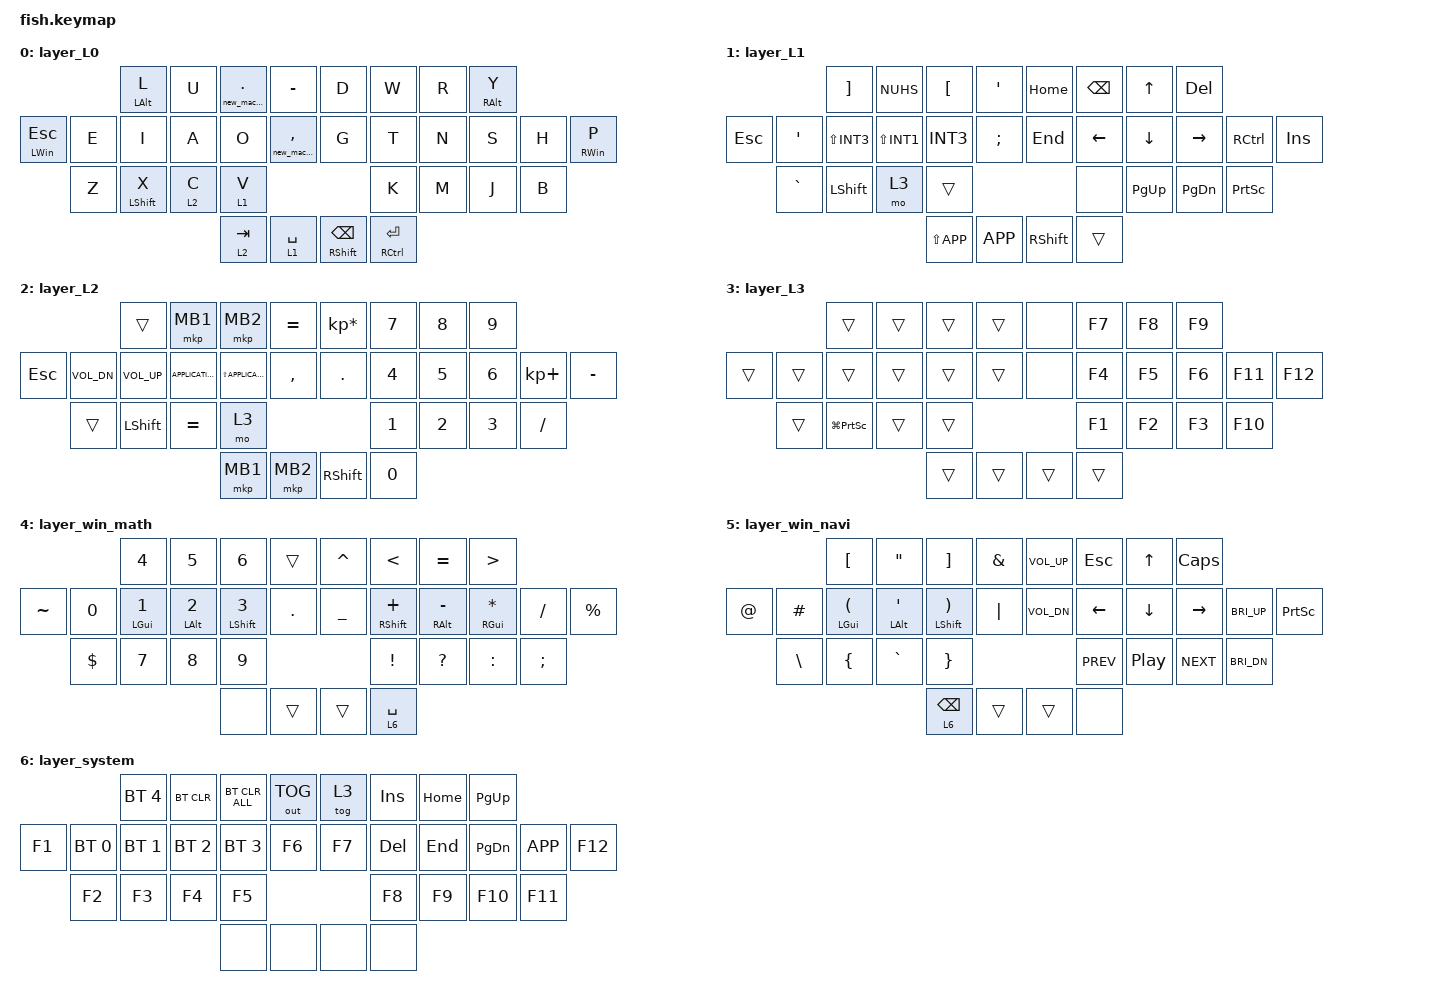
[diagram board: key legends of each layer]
// キーマップを更新する方法は https://o24.works/fish/guide を参照
// 視覚的に編集するには https://o24.works/fish/editor を参照
// 定義を呼んでくる

#include <dt-bindings/zmk/mouse.h>
#include <behaviors.dtsi>
#include <dt-bindings/zmk/bt.h>
#include <dt-bindings/zmk/keys.h>
#include <dt-bindings/zmk/outputs.h>
#include <dt-bindings/zmk/pointing.h>

// 特殊入力の挙動を調整できる

&lt {
    flavor = "balanced";
    quick-tap-ms = <200>;
};

&sk {
};

&sl {
};

&caps_word {
};

&key_repeat {
};

/ {
    // 独自の入力を定義できる（上級者向け）

    conditional_layers {
    };

    // 複数キーの同時押しに特別の入力を設定できる
    // キー番号早見表：
    //       0  1  2  3     4  5  6  7
    // 8  9 10 11 12 13    14 15 16 17 18 19
    //   20 21 22 23          24 25 26 27
    //            28 29    30 31

    combos {
        compatible = "zmk,combos";
        timeout-ms = <150>;
        require-prior-idle-ms = <150>;

        combo_f {
            key-positions = <4 14>;
            bindings = <&kp F>;
        };

        combo_fslh {
            key-positions = <3 13>;
            bindings = <&new_behavior_que 0 SLASH>;
        };

        combo_ze {
            key-positions = <9 20>;
            bindings = <&new_macro_ze>;
        };

        combo_kakko {
            key-positions = <0 1 2>;
            bindings = <&new_macro_kakko>;
        };

        combo_nn {
            key-positions = <16 17>;
            bindings = <&new_macro_nn>;
            layers = <0>;
        };

        combo_mo_3 {
            key-positions = <28 29>;
            bindings = <&mo 3>;
        };

        henkan {
            bindings = <&mt RIGHT_SHIFT INT_HENKAN>;
            key-positions = <16 15>;
        };

        muhennkann {
            bindings = <&mt LEFT_SHIFT INT_MUHENKAN>;
            key-positions = <12 11>;
        };

        ctrl {
            bindings = <&kp LEFT_CONTROL>;
            key-positions = <1 11>;
        };

        ctrl2 {
            bindings = <&kp RIGHT_CONTROL>;
            key-positions = <16 6>;
        };

        kyu- {
            bindings = <&kp Q>;
            key-positions = <27 18>;
        };

        shift {
            bindings = <&kp LEFT_SHIFT>;
            key-positions = <2 12>;
        };

        shift2 {
            bindings = <&kp RSHFT>;
            key-positions = <5 15>;
        };
    };

    // キーに入力を割り当てる
    // 型（&...）は https://zmk.dev/docs/behaviors/... を参照
    // キーコードは https://zmk.dev/docs/codes/... を参照

    macros {
        new_macro_period: new_macro {
            compatible = "zmk,behavior-macro";
            #binding-cells = <0>;
            bindings = <&kp PERIOD &kp SPACE>;
            label = "NEW_MACRO";
        };

        new_macro_comma: new_macro2 {
            compatible = "zmk,behavior-macro";
            #binding-cells = <0>;
            bindings = <&kp COMMA &kp SPACE>;
            label = "NEW_MACRO2";
        };

        new_macro_que: new_macro3 {
            compatible = "zmk,behavior-macro";
            #binding-cells = <0>;
            bindings = <&kp RS(SLASH) &kp SPACE>;
            label = "NEW_MACRO3";
        };

        new_macro_ze: new_macro_ze {
            compatible = "zmk,behavior-macro";
            #binding-cells = <0>;
            bindings = <&kp Z &kp E>;
            label = "NEW_MACRO_ZE";
        };

        new_macro_kakko: new_macro_kakko {
            compatible = "zmk,behavior-macro";
            #binding-cells = <0>;
            bindings = <&kp RBKT &kp NUHS &kp ENTER &kp LEFT>;
            label = "NEW_MACRO_KAKKO";
        };

        new_macro_nn: new_macro_nn {
            compatible = "zmk,behavior-macro";
            #binding-cells = <0>;
            bindings = <&kp N &kp N>;
            label = "NEW_MACRO_NN";
        };
    };

    behaviors {
        new_behavior_balance_mod: new_behavior_balance_mod {
            compatible = "zmk,behavior-hold-tap";
            label = "NEW_BEHAVIOR_BALANCE_MOD";
            bindings = <&kp>, <&kp>;

            #binding-cells = <2>;
            tapping-term-ms = <200>;
            flavor = "balanced";
            quick-tap-ms = <175>;
        };

        new_behavior_thumb_lt: new_behavior_thumb_lt {
            compatible = "zmk,behavior-hold-tap";
            label = "NEW_BEHAVIOR_THUMB_LT";
            bindings = <&mo>, <&kp>;

            #binding-cells = <2>;
            tapping-term-ms = <200>;
            flavor = "hold-preferred";
            quick-tap-ms = <175>;
        };

        new_behavior_peri: new_behavior_peri {
            compatible = "zmk,behavior-hold-tap";
            label = "NEW_BEHAVIOR_PERI";
            bindings = <&new_macro_period>, <&kp>;

            #binding-cells = <2>;
            tapping-term-ms = <200>;
        };

        new_behavior_comma: new_behavior_comma {
            compatible = "zmk,behavior-hold-tap";
            label = "NEW_BEHAVIOR_COMMA";
            bindings = <&new_macro_comma>, <&kp>;

            #binding-cells = <2>;
            tapping-term-ms = <200>;
        };

        new_behavior_que: new_behavior_que {
            compatible = "zmk,behavior-hold-tap";
            label = "NEW_BEHAVIOR_QUE";
            bindings = <&new_macro_que>, <&kp>;

            #binding-cells = <2>;
            tapping-term-ms = <200>;
        };

        new_behavior_thumb: new_behavior_thumb {
            compatible = "zmk,behavior-hold-tap";
            label = "NEW_BEHAVIOR_THUMB";
            bindings = <&kp>, <&kp>;

            #binding-cells = <2>;
            tapping-term-ms = <200>;
            quick-tap-ms = <175>;
        };
    };

    keymap {
        compatible = "zmk,keymap";

        layer_L0 {
            bindings = <
                            &mt LEFT_ALT L    &kp U                       &new_behavior_peri 0 PERIOD  &kp MINUS                      &kp D                                 &kp W                                  &kp R  &new_behavior_balance_mod RIGHT_ALT Y
&mt LEFT_WIN ESCAPE  &kp E  &kp I             &kp A                       &kp O                        &new_behavior_comma 0 COMMA    &kp G                                 &kp T                                  &kp N  &kp S                                  &kp H  &new_behavior_balance_mod RIGHT_WIN P
                     &kp Z  &mt LEFT_SHIFT X  &new_behavior_thumb_lt 2 C  &new_behavior_thumb_lt 1 V                                                                        &kp K                                  &kp M  &kp J                                  &kp B
                                                                          &lt 2 TAB                    &lt 1 SPACE                    &new_behavior_thumb RIGHT_SHIFT BSPC  &new_behavior_thumb RIGHT_CONTROL RET
            >;
        };

        layer_L1 {
            bindings = <
                       &kp RBKT      &kp NUHS      &kp LBKT       &kp SQT      &kp HOME   &kp BSPC  &kp UP     &kp DEL
&kp ESCAPE  &kp SQT    &kp LS(INT3)  &kp LS(INT1)  &kp INT3       &kp SEMI     &kp END    &kp LEFT  &kp DOWN   &kp RIGHT  &kp RCTRL  &kp INS
            &kp GRAVE  &kp LSHFT     &mo 3         &trans                                 &none     &kp PG_UP  &kp PG_DN  &kp PSCRN
                                                   &kp LS(K_APP)  &kp K_APP    &kp RSHFT  &trans
            >;
        };

        layer_L2 {
            bindings = <
                          &trans        &mkp MB1           &mkp MB2               &kp EQUAL    &kp KP_MULTIPLY  &kp N7  &kp N8  &kp N9
&kp ESCAPE  &kp C_VOL_DN  &kp C_VOL_UP  &kp K_APPLICATION  &kp LS(K_APPLICATION)  &kp COMMA    &kp DOT          &kp N4  &kp N5  &kp N6  &kp KP_PLUS  &kp MINUS
            &trans        &kp LSHFT     &kp EQUAL          &mo 3                                                &kp N1  &kp N2  &kp N3  &kp FSLH
                                                           &mkp MB1               &mkp MB2     &kp RSHFT        &kp N0
            >;
        };

        layer_L3 {
            bindings = <
                &trans               &trans  &trans  &trans    &none   &kp F7  &kp F8  &kp F9
&trans  &trans  &trans               &trans  &trans  &trans    &none   &kp F4  &kp F5  &kp F6  &kp F11  &kp F12
        &trans  &kp LG(PRINTSCREEN)  &trans  &trans                    &kp F1  &kp F2  &kp F3  &kp F10
                                             &trans  &trans    &trans  &trans
            >;
        };

        layer_win_math {
            bindings = <
                     &kp N4       &kp N5       &kp N6        &trans     &kp CARET  &kp LT          &kp EQUAL       &kp GT
&kp TILDE  &kp N0    &mt LGUI N1  &mt LALT N2  &mt LSHFT N3  &kp DOT    &kp UNDER  &mt RSHFT PLUS  &mt RALT MINUS  &mt RGUI STAR  &kp FSLH  &kp PRCNT
           &kp DLLR  &kp N7       &kp N8       &kp N9                              &kp EXCL        &kp QMARK       &kp COLON      &kp SEMI
                                               &none         &trans     &trans     &lt 6 SPACE
            >;
        };

        layer_win_navi {
            bindings = <
                  &kp LBKT       &kp DQT       &kp RBKT        &kp AMPS    &kp C_VOL_UP  &kp ESC     &kp UP    &kp CAPS
&kp AT  &kp HASH  &mt LGUI LPAR  &mt LALT SQT  &mt LSHFT RPAR  &kp PIPE    &kp C_VOL_DN  &kp LEFT    &kp DOWN  &kp RIGHT   &kp C_BRI_UP  &kp PSCRN
        &kp BSLH  &kp LBRC       &kp GRAVE     &kp RBRC                                  &kp C_PREV  &kp C_PP  &kp C_NEXT  &kp C_BRI_DN
                                               &lt 6 BSPC      &trans      &trans        &none
            >;
        };

        layer_system {
            bindings = <
                      &bt BT_SEL 4  &bt BT_CLR    &bt BT_CLR_ALL  &out OUT_TOG    &tog 3  &kp INS  &kp HOME  &kp PG_UP
&kp F1  &bt BT_SEL 0  &bt BT_SEL 1  &bt BT_SEL 2  &bt BT_SEL 3    &kp F6          &kp F7  &kp DEL  &kp END   &kp PG_DN  &kp K_APP  &kp F12
        &kp F2        &kp F3        &kp F4        &kp F5                                  &kp F8   &kp F9    &kp F10    &kp F11
                                                  &none           &none           &none   &none
            >;
        };
    };
};
